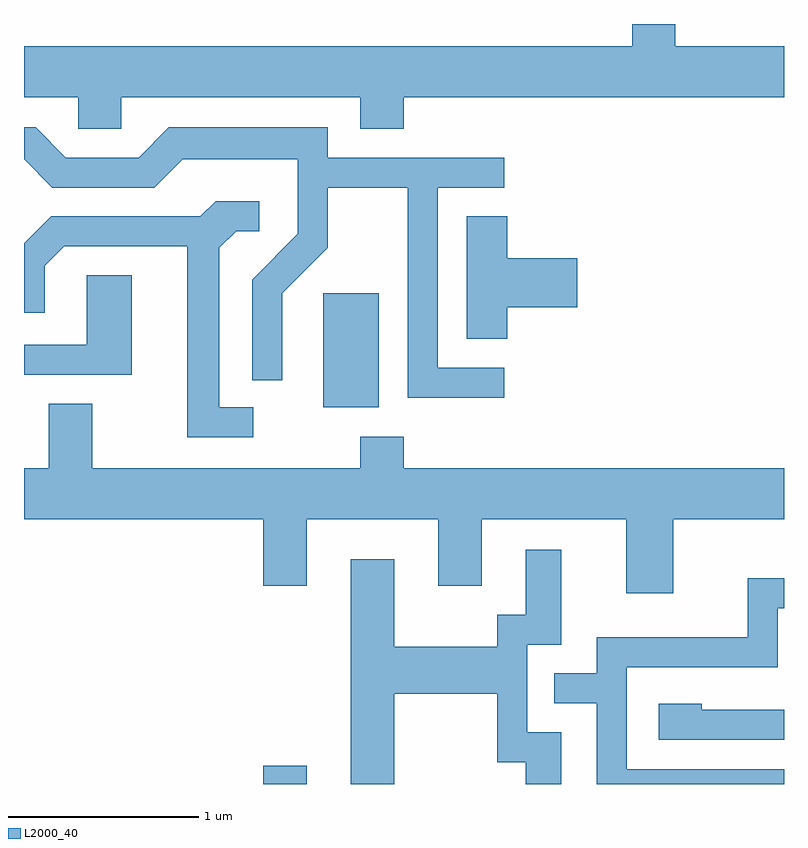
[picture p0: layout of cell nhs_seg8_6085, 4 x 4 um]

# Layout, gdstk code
import gdstk
lib = gdstk.Library(unit=1e-6, precision=1e-09)
def R(c, l, rs):  # rectangles x0, y0, x1, y1
    for r in rs: c.add(gdstk.rectangle(r[:2], r[2:], *l))
def P(c, l, *ps):  # polygons
    for p in ps: c.add(gdstk.Polygon(p, *l))
L2000_40 = (2000, 40)

nhs_seg8_6085 = lib.new_cell('nhs_seg8_6085')
R(nhs_seg8_6085, L2000_40, [(368.871,1848.342,369.099,1848.439), (369.186,1850.326,369.479,1850.924)])
P(nhs_seg8_6085, L2000_40, [(367.611,1851.956),(367.896,1851.956),(367.896,1851.791),(368.124,1851.791),(368.124,1851.956),(369.381,1851.956),(369.381,1851.791),(369.609,1851.791),(369.609,1851.956),(371.611,1851.956),(371.611,1852.224),(371.039,1852.224),(371.039,1852.342),(370.811,1852.342),(370.811,1852.224),(367.611,1852.224)],
  [(370.138,1850.534),(369.789,1850.534),(369.789,1851.481),(370.138,1851.481),(370.138,1851.639),(369.209,1851.639),(369.209,1851.799),(368.374,1851.799),(368.214,1851.639),(367.832,1851.639),(367.672,1851.799),(367.611,1851.799),(367.611,1851.629),(367.759,1851.481),(368.297,1851.481),(368.447,1851.631),(369.051,1851.631),(369.051,1851.237),(368.811,1850.997),(368.811,1850.468),(368.969,1850.468),(368.969,1850.924),(369.209,1851.164),(369.209,1851.481),(369.631,1851.481),(369.631,1850.376),(370.138,1850.376)],
  [(368.818,1850.324),(368.639,1850.324),(368.639,1851.164),(368.727,1851.251),(368.848,1851.251),(368.848,1851.409),(368.619,1851.409),(368.539,1851.329),(367.754,1851.329),(367.611,1851.187),(367.611,1850.823),(367.719,1850.823),(367.719,1851.069),(367.822,1851.171),(368.471,1851.171),(368.471,1850.166),(368.818,1850.166)],
  [(370.154,1850.851),(370.524,1850.851),(370.524,1851.109),(370.154,1851.109),(370.154,1851.329),(369.941,1851.329),(369.941,1850.686),(370.154,1850.686)],
  [(368.179,1851.019),(367.941,1851.019),(367.941,1850.654),(367.611,1850.654),(367.611,1850.496),(368.179,1850.496)],
  [(371.029,1849.736),(371.611,1849.736),(371.611,1850.004),(369.609,1850.004),(369.609,1850.169),(369.381,1850.169),(369.381,1850.004),(367.969,1850.004),(367.969,1850.344),(367.741,1850.344),(367.741,1850.004),(367.611,1850.004),(367.611,1849.736),(368.871,1849.736),(368.871,1849.386),(369.099,1849.386),(369.099,1849.736),(369.791,1849.736),(369.791,1849.386),(370.019,1849.386),(370.019,1849.736),(370.781,1849.736),(370.781,1849.346),(371.029,1849.346)],
  [(369.559,1848.816),(370.101,1848.816),(370.101,1848.456),(370.251,1848.456),(370.251,1848.342),(370.439,1848.342),(370.439,1848.614),(370.259,1848.614),(370.259,1849.076),(370.439,1849.076),(370.439,1849.574),(370.251,1849.574),(370.251,1849.234),(370.101,1849.234),(370.101,1849.064),(369.559,1849.064),(369.559,1849.524),(369.331,1849.524),(369.331,1848.342),(369.559,1848.342)],
  [(371.611,1848.419),(370.784,1848.419),(370.784,1848.956),(371.579,1848.956),(371.579,1849.266),(371.611,1849.266),(371.611,1849.424),(371.421,1849.424),(371.421,1849.114),(370.626,1849.114),(370.626,1848.924),(370.403,1848.924),(370.403,1848.766),(370.626,1848.766),(370.626,1848.342),(371.611,1848.342)],
  [(371.611,1848.734),(371.179,1848.734),(371.179,1848.764),(370.951,1848.764),(370.951,1848.576),(371.611,1848.576)])

lib.write_gds('nhs_seg8_6085.gds')
